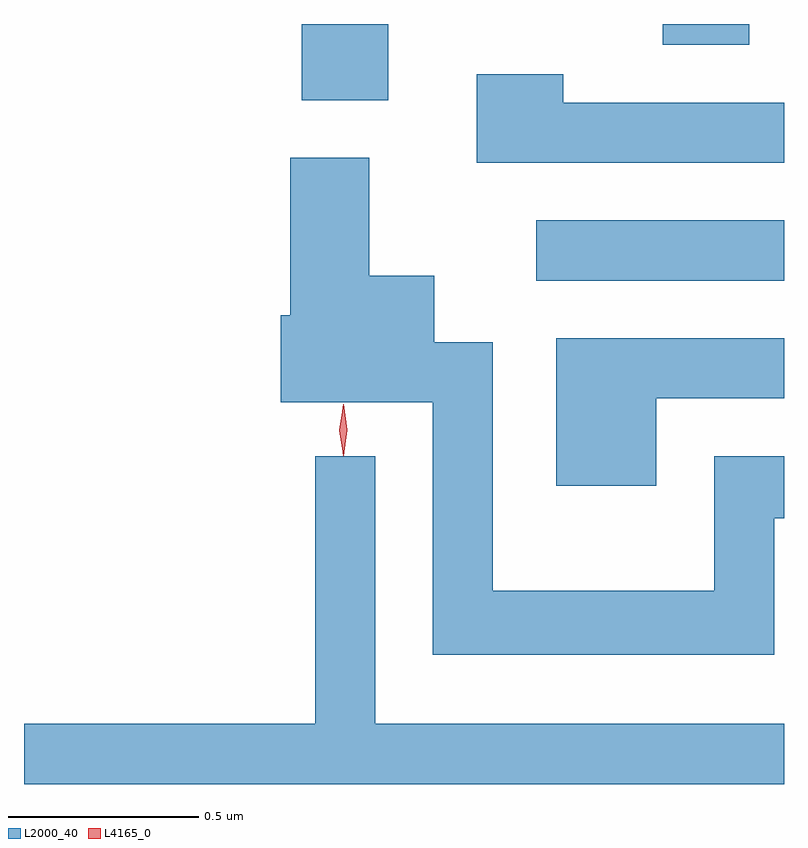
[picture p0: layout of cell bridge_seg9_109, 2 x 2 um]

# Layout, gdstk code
import gdstk
lib = gdstk.Library(unit=1e-6, precision=1e-09)
def R(c, l, rs):  # rectangles x0, y0, x1, y1
    for r in rs: c.add(gdstk.rectangle(r[:2], r[2:], *l))
def P(c, l, *ps):  # polygons
    for p in ps: c.add(gdstk.Polygon(p, *l))
L2000_40 = (2000, 40)
L4165_0 = (4165, 0)

bridge_seg9_109 = lib.new_cell('bridge_seg9_109')
R(bridge_seg9_109, L2000_40, [(1806.568,1991.031,1807.22,1991.189), (1805.951,1991.506,1806.179,1991.706), (1806.901,1991.651,1807.129,1991.706)])
P(bridge_seg9_109, L2000_40, [(1807.22,1991.499),(1806.639,1991.499),(1806.639,1991.574),(1806.411,1991.574),(1806.411,1991.341),(1807.22,1991.341)],
  [(1807.194,1990.406),(1807.22,1990.406),(1807.22,1990.569),(1807.036,1990.569),(1807.036,1990.214),(1806.454,1990.214),(1806.454,1990.869),(1806.299,1990.869),(1806.299,1991.044),(1806.129,1991.044),(1806.129,1991.354),(1805.921,1991.354),(1805.921,1990.939),(1805.896,1990.939),(1805.896,1990.711),(1806.296,1990.711),(1806.296,1990.046),(1807.194,1990.046)],
  [(1806.884,1990.721),(1807.22,1990.721),(1807.22,1990.879),(1806.621,1990.879),(1806.621,1990.491),(1806.884,1990.491)],
  [(1807.22,1989.864),(1806.144,1989.864),(1806.144,1990.568),(1805.986,1990.568),(1805.986,1989.864),(1805.22,1989.864),(1805.22,1989.706),(1807.22,1989.706)])
P(bridge_seg9_109, L4165_0, [(1806.061,1990.569),(1806.06,1990.57),(1806.051,1990.638),(1806.06,1990.706),(1806.06,1990.706),(1806.061,1990.706),(1806.07,1990.638),(1806.061,1990.57)],
  [(1806.061,1990.572),(1806.06,1990.573),(1806.05,1990.637),(1806.06,1990.702),(1806.06,1990.702),(1806.061,1990.702),(1806.07,1990.637),(1806.061,1990.573)])

lib.write_gds('bridge_seg9_109.gds')
